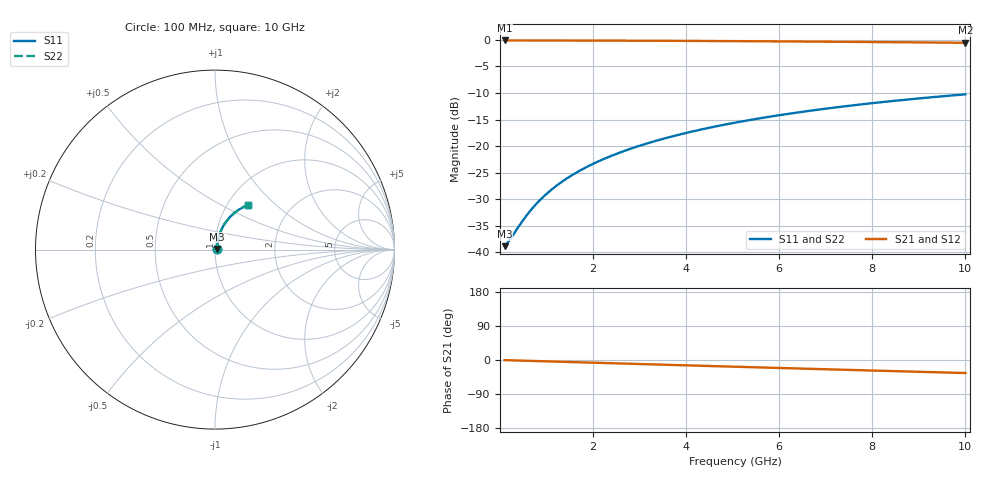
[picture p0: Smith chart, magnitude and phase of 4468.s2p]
# Hz S RI R 50.00
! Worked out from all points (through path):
!   100 points, 100 MHz to 10 GHz, reference 50 ohm
!   highest |S21| = -0.10 dB at 100 MHz (marker M1); lowest = -0.5 dB at 10 GHz (marker M2)
!   group delay of S21, straight-line fit = 9.57 ps
!   lowest |S11| = -38.9 dB at 100 MHz (marker M3), VSWR 1.02, Z = 51.1 + j0.337 ohm
!   |S11| at or under -10 dB: start of sweep to end of sweep
!   |S22| runs from -38.9 to -10.2 dB; largest |S21 - S12| = 0
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1e8  0.0109 0.0033  0.9891 -0.00612  0.9891 -0.00612  0.0109 0.0033
2e8  0.011 0.0066  0.9889 -0.0122  0.9889 -0.0122  0.011 0.0066
4e8  0.0114 0.0132  0.9885 -0.0245  0.9885 -0.0245  0.0114 0.0132
5e8  0.0116 0.0165  0.9883 -0.0306  0.9883 -0.0306  0.0116 0.0165
6e8  0.0119 0.0198  0.988 -0.0367  0.988 -0.0367  0.0119 0.0198
7e8  0.0122 0.023  0.9876 -0.0428  0.9876 -0.0428  0.0122 0.023
9e8  0.0129 0.0296  0.9868 -0.055  0.9868 -0.055  0.0129 0.0296
1.1e9  0.0137 0.0361  0.9858 -0.0671  0.9858 -0.0671  0.0137 0.0361
1.3e9  0.0147 0.0426  0.9846 -0.0793  0.9846 -0.0793  0.0147 0.0426
1.5e9  0.0159 0.0491  0.9832 -0.0914  0.9832 -0.0914  0.0159 0.0491
1.8e9  0.0179 0.0588  0.9807 -0.1095  0.9807 -0.1095  0.0179 0.0588
2.1e9  0.0203 0.0683  0.9778 -0.1275  0.9778 -0.1275  0.0203 0.0683
2.5e9  0.0241 0.0809  0.9734 -0.1514  0.9734 -0.1514  0.0241 0.0809
2.9e9  0.0284 0.0932  0.9681 -0.175  0.9681 -0.175  0.0284 0.0932
3.4e9  0.0347 0.1083  0.9606 -0.2042  0.9606 -0.2042  0.0347 0.1083
4.2e9  0.0465 0.1314  0.9463 -0.25  0.9463 -0.25  0.0465 0.1314
5.1e9  0.0623 0.1557  0.9271 -0.2998  0.9271 -0.2998  0.0623 0.1557
5.9e9  0.0783 0.1757  0.9074 -0.3425  0.9074 -0.3425  0.0783 0.1757
6.7e9  0.0961 0.1938  0.8855 -0.3834  0.8855 -0.3834  0.0961 0.1938
7.5e9  0.1153 0.21  0.8616 -0.4224  0.8616 -0.4224  0.1153 0.21
8.4e9  0.1384 0.2258  0.8325 -0.4639  0.8325 -0.4639  0.1384 0.2258
1e10  0.1822 0.2474  0.7762 -0.5312  0.7762 -0.5312  0.1822 0.2474
